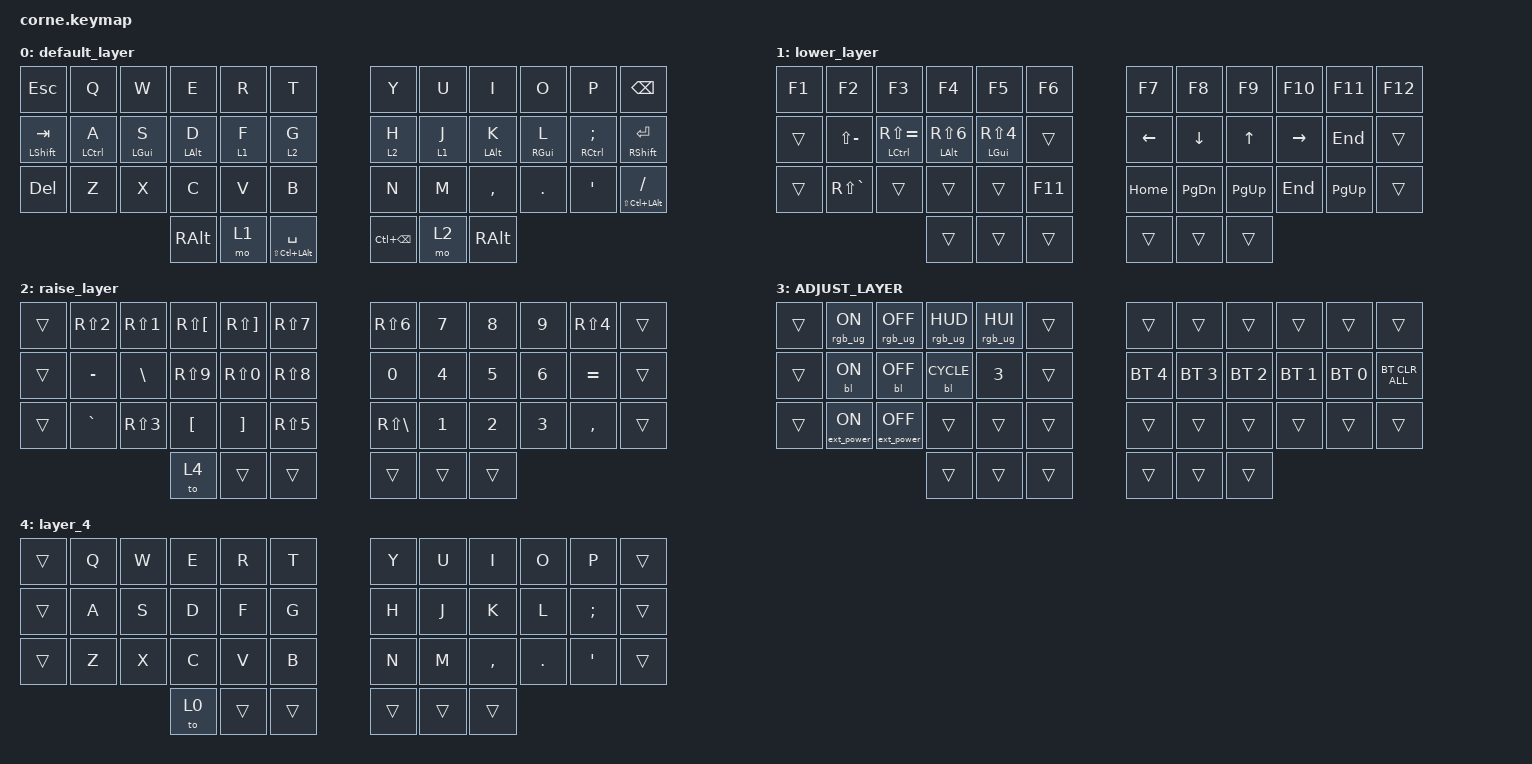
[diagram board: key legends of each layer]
/*
 * Copyright (c) 2020 The ZMK Contributors
 *
 * SPDX-License-Identifier: MIT
 */

#include <behaviors.dtsi>
#include <dt-bindings/zmk/backlight.h>
#include <dt-bindings/zmk/bt.h>
#include <dt-bindings/zmk/ext_power.h>
#include <dt-bindings/zmk/keys.h>
#include <dt-bindings/zmk/rgb.h>

&led_strip { chain-length = <27>; };

/ {
    behaviors {
        hmlayer: hmlayer {
            compatible = "zmk,behavior-hold-tap";
            label = "HMLAYER";
            bindings = <&mo>, <&kp>;

            #binding-cells = <2>;
            tapping-term-ms = <280>;
            flavor = "balanced";
            quick-tap-ms = <175>;
            require-prior-idle-ms = <150>;
            hold-trigger-key-positions = <11 23 35 6 7 8 9 10 18 19 20 21 22 30 31 32 33 34>;
            hold-trigger-on-release;
        };

        hmmod: hmmod {
            compatible = "zmk,behavior-hold-tap";
            label = "HMMOD";
            bindings = <&kp>, <&kp>;

            #binding-cells = <2>;
            tapping-term-ms = <280>;
            flavor = "balanced";
            quick-tap-ms = <175>;
            require-prior-idle-ms = <150>;
            hold-trigger-key-positions = <35 23 11 6 7 8 9 10 18 19 20 21 22 30 31 32 33 34 38>;
            hold-trigger-on-release;
        };

        spacsh: spacsh {
            compatible = "zmk,behavior-hold-tap";
            label = "SPACSH";
            bindings = <&kp>, <&kp>;

            #binding-cells = <2>;
            tapping-term-ms = <300>;
            flavor = "tap-unless-interrupted";
        };

        pinkyshiftL: pinkyshiftL {
            compatible = "zmk,behavior-hold-tap";
            label = "PINKYSHIFTL";
            bindings = <&kp>, <&kp>;

            #binding-cells = <2>;
            tapping-term-ms = <200>;
            flavor = "balanced";
            hold-trigger-key-positions = <6 18 30 31 19 7 8 20 32 33 21 9 10 22 34 35 23 11>;
            quick-tap-ms = <175>;
            require-prior-idle-ms = <0>;
            hold-trigger-on-release;
        };

        pinkyshiftR: pinkyshiftR {
            compatible = "zmk,behavior-hold-tap";
            label = "PINKYSHIFTR";
            bindings = <&kp>, <&kp>;

            #binding-cells = <2>;
            tapping-term-ms = <200>;
            flavor = "balanced";
            hold-trigger-key-positions = <0 12 24 25 13 1 2 14 26 27 15 3 4 16 28 29 17 5>;
            quick-tap-ms = <175>;
            hold-trigger-on-release;
        };

        SpaceMeh: SpaceMeh {
            compatible = "zmk,behavior-hold-tap";
            label = "SPACEMEH";
            bindings = <&kp>, <&kp>;

            #binding-cells = <2>;
            tapping-term-ms = <180>;
            flavor = "tap-preferred";
            require-prior-idle-ms = <150>;
            quick-tap-ms = <180>;
        };

        hmmodr: hmmodr {
            compatible = "zmk,behavior-hold-tap";
            label = "HMMODR";
            bindings = <&kp>, <&kp>;

            #binding-cells = <2>;
            tapping-term-ms = <280>;
            quick-tap-ms = <175>;
            require-prior-idle-ms = <150>;
            flavor = "balanced";
            hold-trigger-key-positions = <24 12 0 0 1 2 3 4 5 12 13 14 15 16 17 24 25 26 27 28 29 38>;
            hold-trigger-on-release;
        };

        hmlayerr: hmlayerr {
            compatible = "zmk,behavior-hold-tap";
            label = "HMLAYERR";
            bindings = <&mo>, <&kp>;

            #binding-cells = <2>;
            tapping-term-ms = <280>;
            quick-tap-ms = <175>;
            require-prior-idle-ms = <150>;
            hold-trigger-key-positions = <24 12 0 1 2 3 4 5 13 14 15 16 17 25 26 27 28 29>;
            flavor = "balanced";
            hold-trigger-on-release;
        };
    };

    keymap {
        compatible = "zmk,keymap";

        default_layer {
            // -----------------------------------------------------------------------------------------
            // |  TAB |  Q  |  W  |  E  |  R  |  T  |   |  Y  |  U   |  I  |  O  |  P  | BKSP |
            // | CTRL |  A  |  S  |  D  |  F  |  G  |   |  H  |  J   |  K  |  L  |  ;  |  '   |
            // | SHFT |  Z  |  X  |  C  |  V  |  B  |   |  N  |  M   |  ,  |  .  |  /  | ESC  |
            //                    | GUI | LWR | SPC |   | ENT | RSE  | ALT |

            bindings = <
&kp ESCAPE                   &kp Q           &kp W          &kp E          &kp R         &kp T                               &kp Y              &kp U          &kp I           &kp O           &kp P                    &kp BSPC
&pinkyshiftL LEFT_SHIFT TAB  &hmmod LCTRL A  &hmmod LGUI S  &hmmod LALT D  &hmlayer 1 F  &hmlayer 2 G                        &hmlayerr 2 H      &hmlayerr 1 J  &hmmodr LALT K  &hmmodr RGUI L  &hmmodr RCTRL SEMICOLON  &pinkyshiftR RIGHT_SHIFT RET
&kp DEL                      &kp Z           &kp X          &kp C          &kp V         &kp B                               &kp N              &kp M          &kp COMMA       &kp DOT         &kp SINGLE_QUOTE         &hmmod LS(LC(LEFT_ALT)) SLASH
                                                            &kp RIGHT_ALT  &mo 1         &SpaceMeh LS(LC(LEFT_ALT)) SPACE    &kp LC(BACKSPACE)  &mo 2          &kp RALT
            >;
        };

        lower_layer {
            // -----------------------------------------------------------------------------------------
            // |  TAB |  1  |  2  |  3  |  4  |  5  |   |  6  |  7  |  8  |  9  |  0  | BKSP |
            // | BTCLR| BT1 | BT2 | BT3 | BT4 | BT5 |   | LFT | DWN |  UP | RGT |     |      |
            // | SHFT |     |     |     |     |     |   |     |     |     |     |     |      |
            //                    | GUI |     | SPC |   | ENT |     | ALT |

            bindings = <
&kp F1  &kp F2         &kp F3                      &kp F4                 &kp F5                        &kp F6     &kp F7    &kp F8     &kp F9     &kp F10    &kp F11      &kp F12
&trans  &kp LS(MINUS)  &mt LEFT_CONTROL RS(EQUAL)  &mt LALT RS(NUMBER_6)  &hmmod LEFT_GUI RS(NUMBER_4)  &trans     &kp LEFT  &kp DOWN   &kp UP     &kp RIGHT  &kp END      &trans
&trans  &kp RS(GRAVE)  &trans                      &trans                 &trans                        &kp F11    &kp HOME  &kp PG_DN  &kp PG_UP  &kp END    &kp PAGE_UP  &trans
                                                   &trans                 &trans                        &trans     &trans    &trans     &trans
            >;
        };

        raise_layer {
            // -----------------------------------------------------------------------------------------
            // |  TAB |  !  |  @  |  #  |  $  |  %  |   |  ^  |  &  |  *  |  (  |  )  | BKSP |
            // | CTRL |     |     |     |     |     |   |  -  |  =  |  [  |  ]  |  \  |  `   |
            // | SHFT |     |     |     |     |     |   |  _  |  +  |  {  |  }  | "|" |  ~   |
            //                    | GUI |     | SPC |   | ENT |     | ALT |

            bindings = <
&trans  &kp RS(NUMBER_2)  &kp RS(NUMBER_1)  &kp RS(LEFT_BRACKET)  &kp RS(RIGHT_BRACKET)  &kp RS(NUMBER_7)    &kp RS(N6)         &kp NUMBER_7  &kp N8        &kp N9        &kp RS(N4)  &trans
&trans  &kp MINUS         &kp BACKSLASH     &kp RS(N9)            &kp RS(N0)             &kp RS(N8)          &kp N0             &kp NUMBER_4  &kp N5        &kp NUMBER_6  &kp EQUAL   &trans
&trans  &kp GRAVE         &kp RS(N3)        &kp LEFT_BRACKET      &kp RIGHT_BRACKET      &kp RS(N5)          &kp RS(BACKSLASH)  &kp NUMBER_1  &kp NUMBER_2  &kp NUMBER_3  &kp COMMA   &trans
                                            &to 4                 &trans                 &trans              &trans             &trans        &trans
            >;
        };

        ADJUST_LAYER {
            bindings = <
&trans  &rgb_ug RGB_ON    &rgb_ug RGB_OFF    &rgb_ug RGB_HUD  &rgb_ug RGB_HUI  &trans    &trans        &trans        &trans        &trans        &trans        &trans
&trans  &bl BL_ON         &bl BL_OFF         &bl BL_CYCLE     &kp NUMBER_3     &trans    &bt BT_SEL 4  &bt BT_SEL 3  &bt BT_SEL 2  &bt BT_SEL 1  &bt BT_SEL 0  &bt BT_CLR_ALL
&trans  &ext_power EP_ON  &ext_power EP_OFF  &trans           &trans           &trans    &trans        &trans        &trans        &trans        &trans        &trans
                                             &trans           &trans           &trans    &trans        &trans        &trans
            >;
        };

        layer_4 {
            bindings = <
&trans  &kp Q  &kp W  &kp E  &kp R   &kp T     &kp Y   &kp U   &kp I      &kp O    &kp P             &trans
&trans  &kp A  &kp S  &kp D  &kp F   &kp G     &kp H   &kp J   &kp K      &kp L    &kp SEMI          &trans
&trans  &kp Z  &kp X  &kp C  &kp V   &kp B     &kp N   &kp M   &kp COMMA  &kp DOT  &kp SINGLE_QUOTE  &trans
                      &to 0  &trans  &trans    &trans  &trans  &trans
            >;
        };
    };

    conditional_layers {
        compatible = "zmk,conditional-layers";

        raiseandlower {
            if-layers = <1 2>;
            then-layer = <3>;
        };
    };
};
